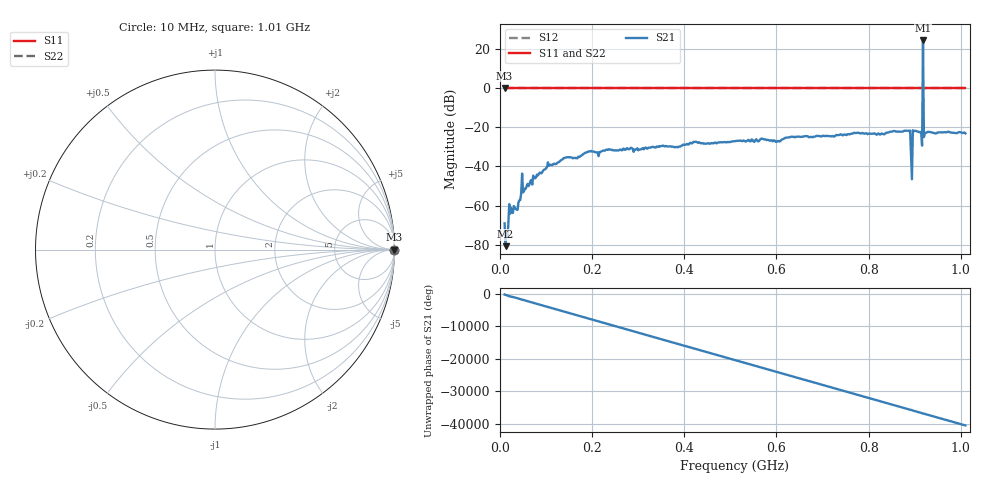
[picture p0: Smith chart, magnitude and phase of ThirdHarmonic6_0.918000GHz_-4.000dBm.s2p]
! 8/16/2025 5:59:46 AM
! C:\ANRITSUVNA\TEMP\TEMP.S2P
! CHANNEL.1
! TR.MEASUREMENT
! RAW.DATA
! RF.CORRECTION.OFF
! AVERAGING.OFF
! IF.BANDWIDTH: 5KHZ
! SWEEPTYPE:  FREQ.SWEEP(Linear)
! Reference Plane Port Info
! PORT:  PORT1  PORT2
! DISTANCE:  0  m  0  m
! TIME:  0  s  0  s
! PHASE.OFFSET:  0  deg.  0  deg.
! LOSS:  0  dB  0  dB
! REF.LOSS:  0  dB  0  dB
! REF.FREQ:  0  Hz  0  Hz
! Power Info
! POWER:  -20  dBm  -20  dBm
! EFF.POWER:  -20  dBm  -20  dBm
! SOURCE.ATTEN:  0  dB  0  dB
! TEST.ATTEN:  0  dB  0  dB
# GHZ S RI R 50.0
! FREQ.GHZ  S11RE  S11IM  S21RE  S21IM  S12RE  S12IM  S22RE  S22IM
!; PortSelection: Port_12
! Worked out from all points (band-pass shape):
!   501 points, 10 MHz to 1.01 GHz, reference 50 ohm
!   highest |S21| = 24.15 dB at 918 MHz (marker M1); lowest = -80.7 dB at 12 MHz (marker M2)
!   |S21| within 3 dB of the highest: 917.888 MHz to 918.1219 MHz (233.9 kHz wide, 0.0255 % of centre)
!   lowest |S11| = 0.0 dB at 10 MHz (marker M3)
!   |S11| at or under -10 dB: nowhere
!   |S22| runs from 0.0 to 0.0 dB; largest |S21 - S12| = 16
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0.01  1 0  -0.000353 -1.97e-05  1 0  1 0
0.012  1 0  2.37e-05 8.97e-05  1 0  1 0
0.014  1 0  0.000204 -8.71e-05  1 0  1 0
0.024  1 0  -0.000629 -0.000609  1 0  1 0
0.038  1 0  -0.00053 0.000571  1 0  1 0
0.05  1 0  0.00214 -0.000327  1 0  1 0
0.106  1 0  -0.00729 -0.00725  1 0  1 0
0.178  1 0  -0.0184 -0.00567  1 0  1 0
0.344  1 0  0.0312 -0.00386  1 0  1 0
0.51  1 0  -0.0429 0.00961  1 0  1 0
0.678  1 0  -0.0141 -0.0533  1 0  1 0
0.844  1 0  0.0383 0.0631  1 0  1 0
0.886  1 0  -0.0758 0.0273  1 0  1 0
0.89  1 0  0.082 0.000829  1 0  1 0
0.896  1 0  -0.0319 0.0771  1 0  1 0
0.9  1 0  0.0564 -0.0577  1 0  1 0
0.912  1 0  -0.0739 -0.0128  1 0  1 0
0.914  1 0  -0.0242 0.071  1 0  1 0
0.918  1 0  2.317 -15.96  1 0  1 0
0.922  1 0  -0.0602 0.0378  1 0  1 0
0.924  1 0  0.0263 0.0663  1 0  1 0
1.01  1 0  -0.0643 -0.026  1 0  1 0
